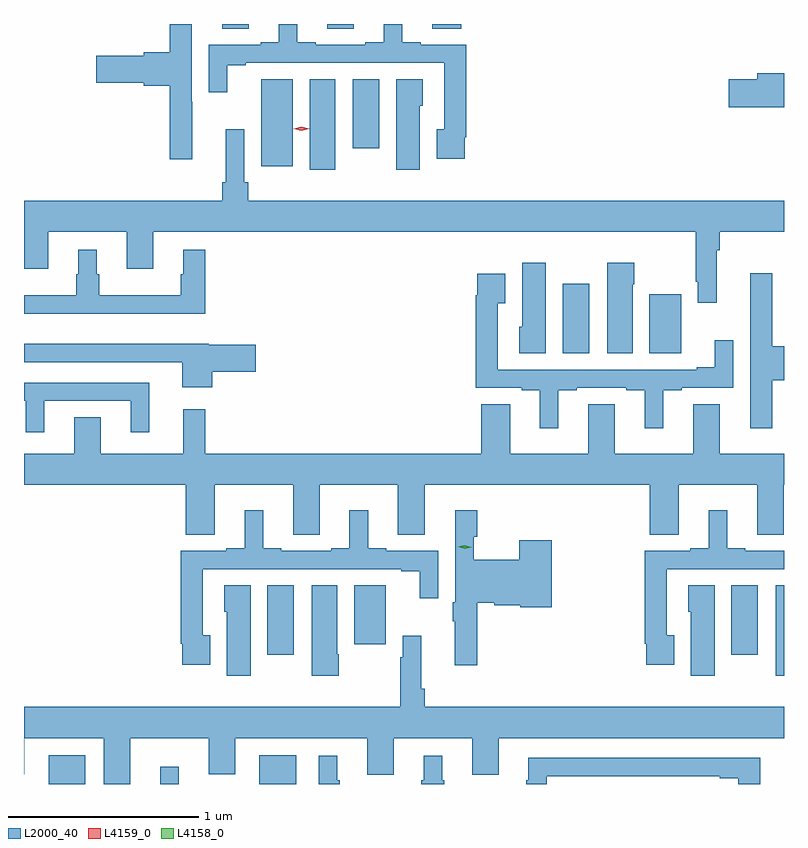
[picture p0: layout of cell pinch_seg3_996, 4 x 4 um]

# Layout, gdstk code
import gdstk
lib = gdstk.Library(unit=1e-6, precision=1e-09)
def R(c, l, rs):  # rectangles x0, y0, x1, y1
    for r in rs: c.add(gdstk.rectangle(r[:2], r[2:], *l))
def P(c, l, *ps):  # polygons
    for p in ps: c.add(gdstk.Polygon(p, *l))
L2000_40 = (2000, 40)
L4158_0 = (4158, 0)
L4159_0 = (4159, 0)

pinch_seg3_996 = lib.new_cell('pinch_seg3_996')
R(pinch_seg3_996, L2000_40, [(411.506,687.354,411.7,687.505), (412.094,687.354,412.192,687.445), (412.616,687.354,412.81,687.505), (415.334,687.924,415.377,688.4), (412.658,688.035,412.798,688.4), (415.1,688.035,415.24,688.4), (413.114,688.089,413.281,688.4), (414.212,689.62,414.352,689.986), (414.668,689.62,414.835,689.932), (412.88,690.588,413.014,691.064), (412.625,690.606,412.792,691.064), (413.108,690.699,413.248,691.064), (412.421,691.33,412.561,691.354), (412.973,691.33,413.113,691.354), (413.525,691.33,413.678,691.354)])
P(pinch_seg3_996, L2000_40, [(413.698,690.757),(413.705,690.757),(413.705,691.245),(413.464,691.245),(413.464,691.258),(413.368,691.258),(413.368,691.354),(413.27,691.354),(413.27,691.258),(413.174,691.258),(413.174,691.245),(412.912,691.245),(412.912,691.258),(412.816,691.258),(412.816,691.354),(412.718,691.354),(412.718,691.258),(412.622,691.258),(412.622,691.245),(412.35,691.245),(412.35,690.996),(412.447,690.996),(412.447,691.137),(412.543,691.137),(412.543,691.149),(413.589,691.149),(413.589,690.801),(413.549,690.801),(413.549,690.645),(413.698,690.645)],
  [(412.262,690.944),(412.26,690.944),(412.26,691.354),(412.144,691.354),(412.144,691.206),(412.008,691.206),(412.008,691.188),(411.756,691.188),(411.756,691.046),(412.008,691.046),(412.008,691.028),(412.144,691.028),(412.144,690.642),(412.262,690.642)],
  [(415.377,691.094),(415.235,691.094),(415.235,691.064),(415.086,691.064),(415.086,690.917),(415.377,690.917)],
  [(413.461,690.924),(413.476,690.924),(413.476,691.064),(413.336,691.064),(413.336,690.588),(413.461,690.588)],
  [(412.556,690.52),(412.536,690.52),(412.536,690.799),(412.439,690.799),(412.439,690.52),(412.42,690.52),(412.42,690.424),(411.377,690.424),(411.377,690.066),(411.505,690.066),(411.505,690.26),(411.917,690.26),(411.917,690.066),(412.057,690.066),(412.057,690.26),(414.912,690.26),(414.912,689.998),(414.924,689.998),(414.924,689.886),(415.022,689.886),(415.022,690.164),(415.04,690.164),(415.04,690.26),(415.377,690.26),(415.377,690.424),(412.556,690.424)],
  [(412.331,690.166),(412.214,690.166),(412.214,690.038),(412.203,690.038),(412.203,689.926),(411.772,689.926),(411.772,690.038),(411.76,690.038),(411.76,690.166),(411.662,690.166),(411.662,690.038),(411.651,690.038),(411.651,689.926),(411.377,689.926),(411.377,689.828),(412.331,689.828)],
  [(414.58,689.984),(414.588,689.984),(414.588,690.097),(414.446,690.097),(414.446,689.62),(414.58,689.62)],
  [(414.124,690.097),(413.999,690.097),(413.999,689.76),(413.984,689.76),(413.984,689.62),(414.124,689.62)],
  [(415.316,689.479),(415.377,689.479),(415.377,689.657),(415.316,689.657),(415.316,690.043),(415.199,690.043),(415.199,689.74),(415.2,689.74),(415.2,689.226),(415.316,689.226)],
  [(414.19,689.427),(414.286,689.427),(414.286,689.439),(414.548,689.439),(414.548,689.427),(414.644,689.427),(414.644,689.226),(414.742,689.226),(414.742,689.427),(414.838,689.427),(414.838,689.439),(415.11,689.439),(415.11,689.689),(415.013,689.689),(415.013,689.548),(414.917,689.548),(414.917,689.535),(413.871,689.535),(413.871,689.884),(413.911,689.884),(413.911,690.04),(413.763,690.04),(413.763,689.927),(413.755,689.927),(413.755,689.439),(413.996,689.439),(413.996,689.427),(414.092,689.427),(414.092,689.226),(414.19,689.226)],
  [(412.367,689.524),(412.597,689.524),(412.597,689.666),(412.35,689.666),(412.35,689.671),(411.377,689.671),(411.377,689.574),(412.211,689.574),(412.211,689.442),(412.367,689.442)],
  [(411.484,689.37),(411.938,689.37),(411.938,689.205),(412.037,689.205),(412.037,689.466),(411.377,689.466),(411.377,689.37),(411.386,689.37),(411.386,689.205),(411.484,689.205)],
  [(412.381,688.928),(412.793,688.928),(412.793,688.666),(412.933,688.666),(412.933,688.928),(413.345,688.928),(413.345,688.666),(413.485,688.666),(413.485,688.928),(414.671,688.928),(414.671,688.666),(414.823,688.666),(414.823,688.928),(415.235,688.928),(415.235,688.666),(415.375,688.666),(415.375,688.928),(415.377,688.928),(415.377,689.092),(415.039,689.092),(415.039,689.354),(414.899,689.354),(414.899,689.092),(414.487,689.092),(414.487,689.354),(414.347,689.354),(414.347,689.092),(413.935,689.092),(413.935,689.354),(413.783,689.354),(413.783,689.092),(412.331,689.092),(412.331,689.326),(412.214,689.326),(412.214,689.092),(411.781,689.092),(411.781,689.285),(411.641,689.285),(411.641,689.092),(411.377,689.092),(411.377,688.928),(412.229,688.928),(412.229,688.666),(412.381,688.666)],
  [(413.762,688.307),(413.853,688.307),(413.853,688.295),(413.988,688.295),(413.988,688.283),(414.155,688.283),(414.155,688.636),(413.984,688.636),(413.984,688.534),(413.745,688.534),(413.745,688.656),(413.762,688.656),(413.762,688.795),(413.646,688.795),(413.646,688.311),(413.634,688.311),(413.634,688.211),(413.645,688.211),(413.645,687.978),(413.762,687.978)],
  [(412.357,688.137),(412.317,688.137),(412.317,688.485),(413.363,688.485),(413.363,688.473),(413.459,688.473),(413.459,688.332),(413.556,688.332),(413.556,688.581),(413.284,688.581),(413.284,688.594),(413.188,688.594),(413.188,688.795),(413.09,688.795),(413.09,688.594),(412.994,688.594),(412.994,688.581),(412.732,688.581),(412.732,688.594),(412.636,688.594),(412.636,688.795),(412.538,688.795),(412.538,688.594),(412.442,688.594),(412.442,688.581),(412.201,688.581),(412.201,688.093),(412.209,688.093),(412.209,687.981),(412.357,687.981)],
  [(414.799,688.137),(414.759,688.137),(414.759,688.485),(415.377,688.485),(415.377,688.581),(415.174,688.581),(415.174,688.594),(415.078,688.594),(415.078,688.795),(414.98,688.795),(414.98,688.594),(414.884,688.594),(414.884,688.581),(414.643,688.581),(414.643,688.093),(414.651,688.093),(414.651,687.981),(414.799,687.981)],
  [(413.034,688.036),(413.026,688.036),(413.026,688.4),(412.892,688.4),(412.892,687.924),(413.034,687.924)],
  [(412.57,688.4),(412.43,688.4),(412.43,688.26),(412.445,688.26),(412.445,687.924),(412.57,687.924)],
  [(415.012,688.4),(414.872,688.4),(414.872,688.26),(414.887,688.26),(414.887,687.924),(415.012,687.924)],
  [(411.937,687.596),(412.349,687.596),(412.349,687.406),(412.489,687.406),(412.489,687.596),(413.183,687.596),(413.183,687.402),(413.323,687.402),(413.323,687.596),(413.735,687.596),(413.735,687.402),(413.875,687.402),(413.875,687.596),(415.377,687.596),(415.377,687.76),(413.486,687.76),(413.486,687.856),(413.468,687.856),(413.468,688.135),(413.37,688.135),(413.37,688.022),(413.358,688.022),(413.358,687.76),(411.377,687.76),(411.377,687.406),(411.379,687.406),(411.379,687.596),(411.797,687.596),(411.797,687.354),(411.937,687.354)],
  [(413.038,687.374),(413.026,687.374),(413.026,687.502),(412.929,687.502),(412.929,687.354),(413.038,687.354)],
  [(413.59,687.374),(413.578,687.374),(413.578,687.502),(413.48,687.502),(413.48,687.374),(413.469,687.374),(413.469,687.354),(413.59,687.354)],
  [(414.129,687.396),(415.04,687.396),(415.04,687.384),(415.136,687.384),(415.136,687.354),(415.253,687.354),(415.253,687.492),(414.032,687.492),(414.032,687.374),(414.021,687.374),(414.021,687.354),(414.129,687.354)])
P(pinch_seg3_996, L4158_0, [(413.696,688.591),(413.661,688.602),(413.66,688.602),(413.661,688.602),(413.697,688.611),(413.732,688.6),(413.733,688.6),(413.732,688.599)])
P(pinch_seg3_996, L4159_0, [(412.837,690.793),(412.796,690.803),(412.796,690.803),(412.796,690.804),(412.837,690.813),(412.878,690.803),(412.878,690.803),(412.878,690.803)])

lib.write_gds('pinch_seg3_996.gds')
